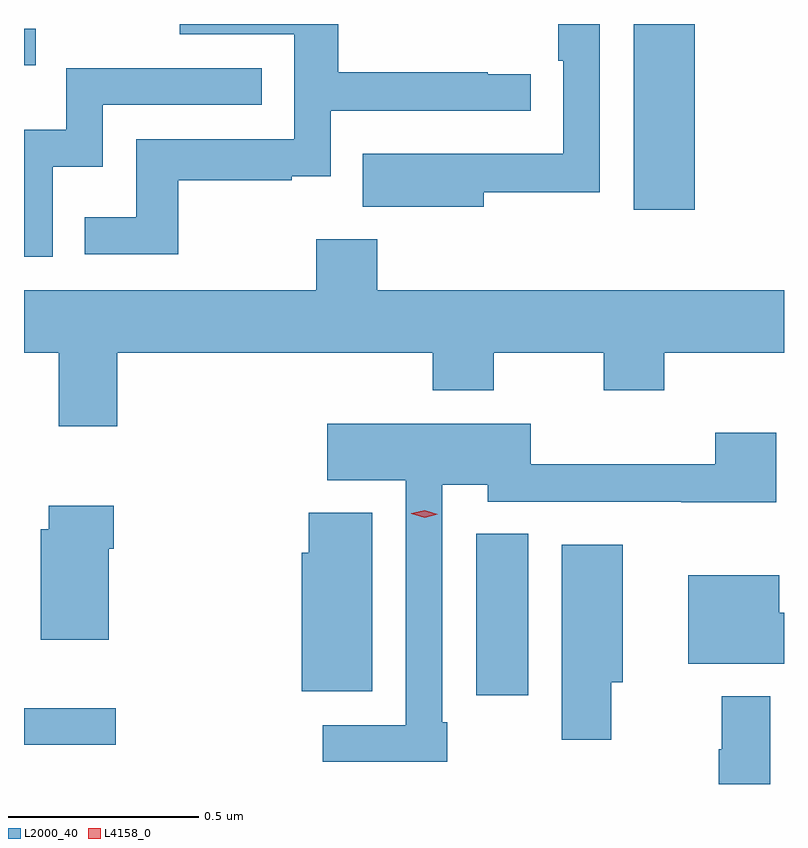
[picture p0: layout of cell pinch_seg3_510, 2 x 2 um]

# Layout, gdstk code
import gdstk
lib = gdstk.Library(unit=1e-6, precision=1e-09)
def R(c, l, rs):  # rectangles x0, y0, x1, y1
    for r in rs: c.add(gdstk.rectangle(r[:2], r[2:], *l))
def P(c, l, *ps):  # polygons
    for p in ps: c.add(gdstk.Polygon(p, *l))
L2000_40 = (2000, 40)
L4158_0 = (4158, 0)

pinch_seg3_510 = lib.new_cell('pinch_seg3_510')
R(pinch_seg3_510, L2000_40, [(982.239,666.584,982.48,666.681), (983.429,666.714,983.566,667.139), (983.843,667.992,984.004,668.481), (982.239,668.372,982.27,668.469)])
P(pinch_seg3_510, L2000_40, [(983.449,668.038),(983.754,668.038),(983.754,668.481),(983.34,668.481),(983.34,668.48),(983.645,668.48),(983.645,668.384),(983.658,668.384),(983.658,668.139),(983.345,668.139),(983.345,668.14),(983.131,668.14),(983.131,668),(983.449,668)],
  [(982.645,668.07),(982.943,668.07),(982.943,668.081),(983.046,668.081),(983.046,668.253),(983.572,668.253),(983.572,668.349),(983.459,668.349),(983.459,668.354),(983.066,668.354),(983.066,668.481),(982.649,668.481),(982.649,668.454),(982.95,668.454),(982.95,668.178),(982.534,668.178),(982.534,667.972),(982.399,667.972),(982.399,667.875),(982.645,667.875)],
  [(982.314,668.105),(982.446,668.105),(982.446,668.268),(982.865,668.268),(982.865,668.364),(982.35,668.364),(982.35,668.203),(982.239,668.203),(982.239,667.869),(982.314,667.869)],
  [(982.239,667.616),(982.331,667.616),(982.331,667.422),(982.484,667.422),(982.484,667.616),(983.315,667.616),(983.315,667.517),(983.475,667.517),(983.475,667.616),(983.764,667.616),(983.764,667.517),(983.924,667.517),(983.924,667.616),(984.239,667.616),(984.239,667.78),(983.168,667.78),(983.168,667.915),(983.008,667.915),(983.008,667.78),(982.239,667.78)],
  [(983.353,666.643),(983.34,666.643),(983.34,667.268),(983.459,667.268),(983.459,667.224),(983.969,667.224),(983.969,667.223),(984.218,667.223),(984.218,667.405),(984.058,667.405),(984.058,667.322),(983.572,667.322),(983.572,667.429),(983.037,667.429),(983.037,667.28),(983.244,667.28),(983.244,666.636),(983.025,666.636),(983.025,666.54),(983.353,666.54)],
  [(982.462,667.1),(982.475,667.1),(982.475,667.213),(982.304,667.213),(982.304,667.152),(982.283,667.152),(982.283,666.86),(982.462,666.86)],
  [(983.155,667.195),(982.988,667.195),(982.988,667.089),(982.97,667.089),(982.97,666.725),(983.155,666.725)],
  [(983.784,666.749),(983.815,666.749),(983.815,667.111),(983.654,667.111),(983.654,666.597),(983.784,666.597)],
  [(984.239,666.932),(984.226,666.932),(984.226,667.03),(983.987,667.03),(983.987,666.797),(984.239,666.797)],
  [(984.203,666.712),(984.075,666.712),(984.075,666.572),(984.067,666.572),(984.067,666.481),(984.203,666.481)])
P(pinch_seg3_510, L4158_0, [(983.293,667.182),(983.258,667.192),(983.258,667.192),(983.258,667.193),(983.293,667.202),(983.328,667.191),(983.328,667.191),(983.328,667.191)])

lib.write_gds('pinch_seg3_510.gds')
